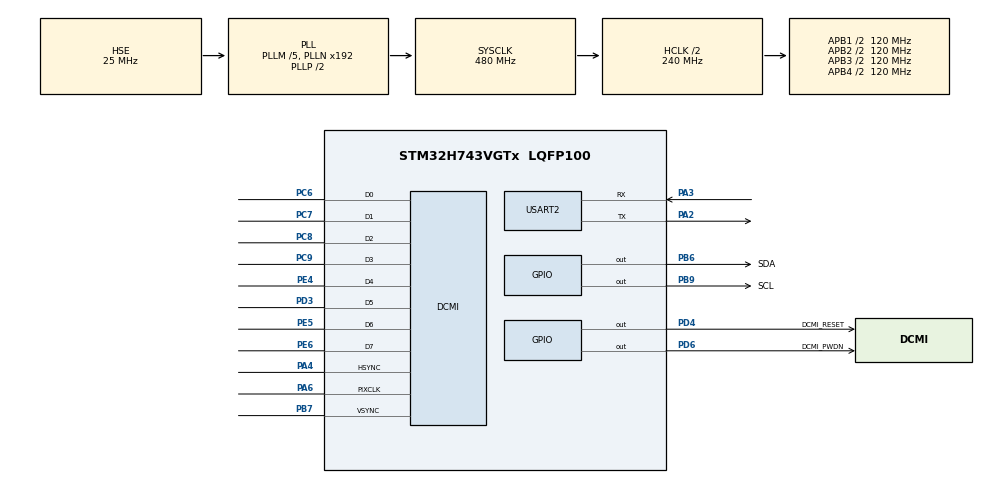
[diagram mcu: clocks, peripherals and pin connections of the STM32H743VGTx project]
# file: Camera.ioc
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CORTEX_M7.CPU_DCache=Enabled
CORTEX_M7.CPU_ICache=Enabled
CORTEX_M7.default_mode_Activation=1
DCMI.JPEGMode=DCMI_JPEG_DISABLE
DCMI.PCKPolarity=DCMI_PCKPOLARITY_RISING
Dma.DCMI.0.Direction=DMA_PERIPH_TO_MEMORY
Dma.DCMI.0.EventEnable=DISABLE
Dma.DCMI.0.FIFOMode=DMA_FIFOMODE_ENABLE
Dma.DCMI.0.FIFOThreshold=DMA_FIFO_THRESHOLD_HALFFULL
Dma.DCMI.0.Instance=DMA2_Stream1
Dma.DCMI.0.MemBurst=DMA_MBURST_SINGLE
Dma.DCMI.0.MemDataAlignment=DMA_MDATAALIGN_HALFWORD
Dma.DCMI.0.MemInc=DMA_MINC_ENABLE
Dma.DCMI.0.Mode=DMA_CIRCULAR
Dma.DCMI.0.PeriphBurst=DMA_PBURST_SINGLE
Dma.DCMI.0.PeriphDataAlignment=DMA_PDATAALIGN_WORD
Dma.DCMI.0.PeriphInc=DMA_PINC_DISABLE
Dma.DCMI.0.Polarity=HAL_DMAMUX_REQ_GEN_RISING
Dma.DCMI.0.Priority=DMA_PRIORITY_VERY_HIGH
Dma.DCMI.0.RequestNumber=1
Dma.DCMI.0.SignalID=NONE
Dma.DCMI.0.SyncEnable=DISABLE
Dma.DCMI.0.SyncPolarity=HAL_DMAMUX_SYNC_NO_EVENT
Dma.DCMI.0.SyncRequestNumber=1
Dma.DCMI.0.SyncSignalID=NONE
Dma.Request0=DCMI
Mcu.Family=STM32H7
Mcu.Name=STM32H743VGTx
Mcu.Package=LQFP100
NVIC.DCMI_IRQn=true\:2\:0\:true\:false\:true\:true\:true\:true
NVIC.DMA2_Stream1_IRQn=true\:1\:0\:true\:false\:true\:false\:true\:true
NVIC.PriorityGroup=NVIC_PRIORITYGROUP_4
NVIC.RCC_IRQn=true\:0\:0\:false\:false\:true\:true\:false\:true
NVIC.USART2_IRQn=true\:3\:0\:true\:false\:true\:true\:true\:true
PA2.Mode=Asynchronous
PA2.Signal=USART2_TX
PA3.Mode=Asynchronous
PA3.Signal=USART2_RX
PA4.GPIO_PuPd=GPIO_PULLUP
PA4.GPIO_Speed=GPIO_SPEED_FREQ_HIGH
PA4.Mode=Slave_8_bits_External_Synchro
PA4.Signal=DCMI_HSYNC
PA6.GPIO_PuPd=GPIO_PULLUP
PA6.GPIO_Speed=GPIO_SPEED_FREQ_HIGH
PA6.Mode=Slave_8_bits_External_Synchro
PA6.Signal=DCMI_PIXCLK
PB6.GPIO_FM6=__NULL
PB6.GPIO_Label=SDA
PB6.GPIO_ModeDefaultOutputPP=GPIO_MODE_OUTPUT_PP
PB6.GPIO_PuPd=GPIO_PULLUP
PB6.GPIO_Speed=GPIO_SPEED_FREQ_HIGH
PB6.Signal=GPIO_Output
PB7.GPIO_PuPd=GPIO_PULLUP
PB7.GPIO_Speed=GPIO_SPEED_FREQ_HIGH
PB7.Mode=Slave_8_bits_External_Synchro
PB7.Signal=DCMI_VSYNC
PB9.GPIO_FM9=__NULL
PB9.GPIO_Label=SCL
PB9.GPIO_ModeDefaultOutputPP=GPIO_MODE_OUTPUT_PP
PB9.GPIO_PuPd=GPIO_PULLUP
PB9.GPIO_Speed=GPIO_SPEED_FREQ_HIGH
PB9.Signal=GPIO_Output
PC14-OSC32_IN\ (OSC32_IN).Mode=LSE-External-Oscillator
PC14-OSC32_IN\ (OSC32_IN).Signal=RCC_OSC32_IN
PC15-OSC32_OUT\ (OSC32_OUT).Mode=LSE-External-Oscillator
PC15-OSC32_OUT\ (OSC32_OUT).Signal=RCC_OSC32_OUT
PC6.GPIO_PuPd=GPIO_PULLUP
PC6.GPIO_Speed=GPIO_SPEED_FREQ_HIGH
PC6.Mode=Slave_8_bits_External_Synchro
PC6.Signal=DCMI_D0
PC7.GPIO_PuPd=GPIO_PULLUP
PC7.GPIO_Speed=GPIO_SPEED_FREQ_HIGH
PC7.Mode=Slave_8_bits_External_Synchro
PC7.Signal=DCMI_D1
PC8.GPIO_PuPd=GPIO_PULLUP
PC8.GPIO_Speed=GPIO_SPEED_FREQ_HIGH
PC8.Mode=Slave_8_bits_External_Synchro
PC8.Signal=DCMI_D2
PC9.GPIO_PuPd=GPIO_PULLUP
PC9.GPIO_Speed=GPIO_SPEED_FREQ_HIGH
PC9.Mode=Slave_8_bits_External_Synchro
PC9.Signal=DCMI_D3
PD3.GPIO_PuPd=GPIO_PULLUP
PD3.GPIO_Speed=GPIO_SPEED_FREQ_HIGH
PD3.Mode=Slave_8_bits_External_Synchro
PD3.Signal=DCMI_D5
PD4.GPIO_Label=DCMI_RESET
PD4.GPIO_PuPd=GPIO_NOPULL
PD4.GPIO_Speed=GPIO_SPEED_FREQ_HIGH
PD4.Signal=GPIO_Output
PD6.GPIO_Label=DCMI_PWDN
PD6.GPIO_Speed=GPIO_SPEED_FREQ_HIGH
PD6.Signal=GPIO_Output
PE4.GPIO_PuPd=GPIO_PULLUP
PE4.GPIO_Speed=GPIO_SPEED_FREQ_HIGH
PE4.Mode=Slave_8_bits_External_Synchro
PE4.Signal=DCMI_D4
PE5.GPIO_PuPd=GPIO_PULLUP
PE5.GPIO_Speed=GPIO_SPEED_FREQ_HIGH
PE5.Mode=Slave_8_bits_External_Synchro
PE5.Signal=DCMI_D6
PE6.GPIO_PuPd=GPIO_PULLUP
PE6.GPIO_Speed=GPIO_SPEED_FREQ_HIGH
PE6.Mode=Slave_8_bits_External_Synchro
PE6.Signal=DCMI_D7
PH0-OSC_IN\ (PH0).Mode=HSE-External-Oscillator
PH0-OSC_IN\ (PH0).Signal=RCC_OSC_IN
PH1-OSC_OUT\ (PH1).Mode=HSE-External-Oscillator
PH1-OSC_OUT\ (PH1).Signal=RCC_OSC_OUT
ProjectManager.HeapSize=0x800
ProjectManager.StackSize=0x800
ProjectManager.TargetToolchain=MDK-ARM V5.32
RCC.ADCFreq_Value=50390625
RCC.APB1CLKDivider=RCC_HCLK_DIV4
RCC.APB1Freq_Value=120000000
RCC.APB2CLKDivider=RCC_HCLK_DIV2
RCC.APB2Freq_Value=120000000
RCC.APB3Freq_Value=120000000
RCC.APB4Freq_Value=120000000
RCC.CortexFreq_Value=480000000
RCC.D1PPRE=RCC_APB3_DIV2
RCC.D2PPRE1=RCC_APB1_DIV2
RCC.D2PPRE2=RCC_APB2_DIV2
RCC.D3PPRE=RCC_APB4_DIV2
RCC.DIVM1=5
RCC.DIVM3=4
RCC.DIVN1=192
RCC.DIVN3=480
RCC.DIVQ1=20
RCC.DIVQ3=8
RCC.FLatency=FLASH_LATENCY_4
RCC.HCLKFreq_Value=240000000
RCC.HPRE=RCC_HCLK_DIV2
RCC.HSE_VALUE=25000000
RCC.PLL2FRACN=0
RCC.PLL3FRACN=0
RCC.PLLFRACN=0
RCC.PLLM=25
RCC.PLLMUL=RCC_PLL_MUL9
RCC.PLLN=432
RCC.PLLQ=9
RCC.PLLSourceVirtual=RCC_PLLSOURCE_HSE
RCC.PRESCALERUSB=RCC_USBCLKSOURCE_PLL_DIV1_5
RCC.PWR_Regulator_Voltage_Scale=PWR_REGULATOR_VOLTAGE_SCALE0
RCC.SYSCLKFreq_VALUE=480000000
RCC.SYSCLKSource=RCC_SYSCLKSOURCE_PLLCLK
RCC.SYSCLKSourceVirtual=RCC_SYSCLKSOURCE_PLLCLK
RCC.USBFreq_Value=48000000
STMicroelectronics.X-CUBE-AI.10.2.0.ActivationBufferSizeList=421776
STMicroelectronics.X-CUBE-AI.10.2.0.ActivationBuffers=pool0
STMicroelectronics.X-CUBE-AI.10.2.0.ActivationNames=pool0
STMicroelectronics.X-CUBE-AI.10.2.0.ActivationSizes=AI_NETWORK_DATA_ACTIVATION_1_SIZE
STMicroelectronics.X-CUBE-AI.10.2.0.ApplicationCcDeviceJjApplication=ApplicationTemplate
STMicroelectronics.X-CUBE-AI.10.2.0.HeapSize=0x800
STMicroelectronics.X-CUBE-AI.10.2.0.InternalRamActivationBufferMaxSize=AI_NETWORK_DATA_ACTIVATIONS_SIZE
STMicroelectronics.X-CUBE-AI.10.2.0.LatestDirectoryUsed-2969e088c054d3755a1600b9624f1c1169a96ec0ee47e460c4e20c2f4b0380d6=C\:\\Users\\cheche\\Desktop\\Camera_YOLO
STMicroelectronics.X-CUBE-AI.10.2.0.MaximumNumberOfInputLayer=1
STMicroelectronics.X-CUBE-AI.10.2.0.MaximumNumberOfOutputLayer=1
STMicroelectronics.X-CUBE-AI.10.2.0.MaximumSizeOfInputLayer=1
STMicroelectronics.X-CUBE-AI.10.2.0.MaximumSizeOfOutputLayer=1
STMicroelectronics.X-CUBE-AI.10.2.0.ModelActualCompression-2969e088c054d3755a1600b9624f1c1169a96ec0ee47e460c4e20c2f4b0380d6=0.0
STMicroelectronics.X-CUBE-AI.10.2.0.ModelCompression-2969e088c054d3755a1600b9624f1c1169a96ec0ee47e460c4e20c2f4b0380d6=None
STMicroelectronics.X-CUBE-AI.10.2.0.ModelFlashOccupation-2969e088c054d3755a1600b9624f1c1169a96ec0ee47e460c4e20c2f4b0380d6=418927
STMicroelectronics.X-CUBE-AI.10.2.0.ModelHashList=2969e088c054d3755a1600b9624f1c1169a96ec0ee47e460c4e20c2f4b0380d6
STMicroelectronics.X-CUBE-AI.10.2.0.ModelKind-2969e088c054d3755a1600b9624f1c1169a96ec0ee47e460c4e20c2f4b0380d6=ONNX
STMicroelectronics.X-CUBE-AI.10.2.0.ModelMacc-2969e088c054d3755a1600b9624f1c1169a96ec0ee47e460c4e20c2f4b0380d6=67856489
STMicroelectronics.X-CUBE-AI.10.2.0.ModelName-2969e088c054d3755a1600b9624f1c1169a96ec0ee47e460c4e20c2f4b0380d6=network
STMicroelectronics.X-CUBE-AI.10.2.0.ModelNameList=network
STMicroelectronics.X-CUBE-AI.10.2.0.ModelRamOccupation-2969e088c054d3755a1600b9624f1c1169a96ec0ee47e460c4e20c2f4b0380d6=421776
STMicroelectronics.X-CUBE-AI.10.2.0.ModelStructureFile-2969e088c054d3755a1600b9624f1c1169a96ec0ee47e460c4e20c2f4b0380d6=static_quantized.onnx
STMicroelectronics.X-CUBE-AI.10.2.0.ModelType-2969e088c054d3755a1600b9624f1c1169a96ec0ee47e460c4e20c2f4b0380d6=STM32Cube.AI MCU runtime
STMicroelectronics.X-CUBE-AI.10.2.0.ReadyForCodeGeneration=true
STMicroelectronics.X-CUBE-AI.10.2.0.StackSize=0x800
STMicroelectronics.X-CUBE-AI.10.2.0.WorkingBufferStartAddrList=0xFFFFFFFF
STMicroelectronics.X-CUBE-AI.10.2.0.XAaCUBEAaAICcArtificialOoIntelligenceJjCore=true
STMicroelectronics.X-CUBE-AI.10.2.0.copyWeightToRam=false
STMicroelectronics.X-CUBE-AI.10.2.0.copyWeightToRam-2969e088c054d3755a1600b9624f1c1169a96ec0ee47e460c4e20c2f4b0380d6=false
STMicroelectronics.X-CUBE-AI.10.2.0.customLayerConfigEnabled=false
STMicroelectronics.X-CUBE-AI.10.2.0.customLayerConfigEnabled-2969e088c054d3755a1600b9624f1c1169a96ec0ee47e460c4e20c2f4b0380d6=false
STMicroelectronics.X-CUBE-AI.10.2.0.noOnnxIoTranspose=false
STMicroelectronics.X-CUBE-AI.10.2.0.noOnnxIoTranspose-2969e088c054d3755a1600b9624f1c1169a96ec0ee47e460c4e20c2f4b0380d6=false
STMicroelectronics.X-CUBE-AI.10.2.0.useInputAllocation=true
STMicroelectronics.X-CUBE-AI.10.2.0.useInputAllocation-2969e088c054d3755a1600b9624f1c1169a96ec0ee47e460c4e20c2f4b0380d6=true
STMicroelectronics.X-CUBE-AI.10.2.0.useOutputAllocation=true
STMicroelectronics.X-CUBE-AI.10.2.0.useOutputAllocation-2969e088c054d3755a1600b9624f1c1169a96ec0ee47e460c4e20c2f4b0380d6=true
TIM2.Prescaler=200-1
USART2.VirtualMode-Asynchronous=VM_ASYNC
VP_MEMORYMAP_VS_MEMORYMAP.Mode=CurAppReg
VP_STMicroelectronics.X-CUBE-AI_VS_ArtificialOoIntelligenceJjXAaCUBEAaAI_10.2.0.Mode=ArtificialOoIntelligenceJjXAaCUBEAaAI
VP_STMicroelectronics.X-CUBE-AI_VS_DeviceJjApplication_10.2.0.Mode=DeviceJjApplication
VP_TIM2_VS_ClockSourceINT.Mode=Internal
board=custom

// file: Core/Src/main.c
/* USER CODE BEGIN Header */
/**
  ******************************************************************************
  * @file           : main.c
  * @brief          : Main program body
  ******************************************************************************
  * @attention
  *
  * Copyright (c) 2025 STMicroelectronics.
  * All rights reserved.
  *
  * This software is licensed under terms that can be found in the LICENSE file
  * in the root directory of this software component.
  * If no LICENSE file comes with this software, it is provided AS-IS.
  *
  ******************************************************************************
  */
/* USER CODE END Header */
#include "main.h"
#include "dcmi.h"
#include "dma.h"
#include "tim.h"
#include "usart.h"
#include "gpio.h"
#include "app_x-cube-ai.h"

/* USER CODE BEGIN Includes */
#include "mc2640.h"
#include "mc2640_sccb.h"
#include "demo.h"
#include "WIFI.h"
#include "stm32h7xx_it.h"                 // Device header
#include <stdio.h>
#include <stdarg.h>
#include "string.h"
#include "wait_mode.h"
#include "stm32h743xx.h"
#include "usart.h"

/* USER CODE END Includes */

void SystemClock_Config(void);
static void MPU_Config(void);

/* USER CODE BEGIN 0 */
/*定义一个拍照并且处理数据的函数*/
int Capture_Process_Faces(void)
{
	int res = 0;
	demo_run();
	res = MX_X_CUBE_AI_Process();
	return res;
}

/* USER CODE BEGIN 0 */

// 定义一个全局标志位，用来记录是否是按键唤醒的
volatile uint8_t button_wakeup_flag = 0;

// 重写外部中断回调函数 (刚刚 gpio.c 里的 EXTI0_IRQHandler 会自动调用它)
void HAL_GPIO_EXTI_Callback(uint16_t GPIO_Pin)
{
    if (GPIO_Pin == GPIO_PIN_0)
    {
        button_wakeup_flag = 1; // 标记：按键把叫醒的！
    }
}

/* USER CODE END 0 */
/* USER CODE END 0 */

int main(void)
{

  /* MPU Configuration--------------------------------------------------------*/
  MPU_Config();

  /* Enable the CPU Cache */

  /* Enable I-Cache---------------------------------------------------------*/
  SCB_EnableICache();

  /* Enable D-Cache---------------------------------------------------------*/
  SCB_EnableDCache();

  /* MCU Configuration--------------------------------------------------------*/

  /* Reset of all peripherals, Initializes the Flash interface and the Systick. */
  HAL_Init();

  /* Configure the system clock */
  SystemClock_Config();

  /* Initialize all configured peripherals */
  MX_GPIO_Init();
	Manual_Button_EXTI_Init();
  MX_DMA_Init();
  MX_DCMI_Init();
  MX_USART2_UART_Init();
  MX_TIM2_Init();
  MX_X_CUBE_AI_Init();
	System_RTC_Init();
  /* USER CODE BEGIN 2 */

	extern uint8_t usart2_rx_byte;
	extern uint8_t USART2_RxBuffer[USART2_RX_BUFFER_SIZE];
  extern volatile uint8_t USART2_RxFlag;

	int result = 0;		//人数结果
	// uint16_t history_count =  0;		//本地数组索引
  // int history_faces[256] = {0};		//本地储存人数信息数组(重复定时)	// history_faces[255](单次定时)
	// uint32_t last_capture_tick = 0; //用于记录定时器打卡

	// ConfigResult_t current_config = {MODE_IDLE,0,0};	//结构体初始化
	HAL_UART_Receive_IT(&huart2, &usart2_rx_byte, 1);	//接收初始化
  /* USER CODE END 2 */

  /* Infinite loop */
  /* USER CODE BEGIN WHILE */
  while (1)
  {

		result = MX_X_CUBE_AI_Process();
		printf("order0people%dend",result);

  }
	/* USER CODE END WHILE */

}

void SystemClock_Config(void)
{
  RCC_OscInitTypeDef RCC_OscInitStruct = {0};
  RCC_ClkInitTypeDef RCC_ClkInitStruct = {0};

  /** Supply configuration update enable
  */
  HAL_PWREx_ConfigSupply(PWR_LDO_SUPPLY);

  /** Configure the main internal regulator output voltage
  */
  __HAL_PWR_VOLTAGESCALING_CONFIG(PWR_REGULATOR_VOLTAGE_SCALE0);

  while(!__HAL_PWR_GET_FLAG(PWR_FLAG_VOSRDY)) {}

  /** Initializes the RCC Oscillators according to the specified parameters
  * in the RCC_OscInitTypeDef structure.
  */
  RCC_OscInitStruct.OscillatorType = RCC_OSCILLATORTYPE_HSE;
  RCC_OscInitStruct.HSEState = RCC_HSE_ON;
  RCC_OscInitStruct.PLL.PLLState = RCC_PLL_ON;
  RCC_OscInitStruct.PLL.PLLSource = RCC_PLLSOURCE_HSE;
  RCC_OscInitStruct.PLL.PLLM = 5;
  RCC_OscInitStruct.PLL.PLLN = 192;
  RCC_OscInitStruct.PLL.PLLP = 2;
  RCC_OscInitStruct.PLL.PLLQ = 20;
  RCC_OscInitStruct.PLL.PLLR = 2;
  RCC_OscInitStruct.PLL.PLLRGE = RCC_PLL1VCIRANGE_2;
  RCC_OscInitStruct.PLL.PLLVCOSEL = RCC_PLL1VCOWIDE;
  RCC_OscInitStruct.PLL.PLLFRACN = 0;
  if (HAL_RCC_OscConfig(&RCC_OscInitStruct) != HAL_OK)
  {
    Error_Handler();
  }

  /** Initializes the CPU, AHB and APB buses clocks
  */
  RCC_ClkInitStruct.ClockType = RCC_CLOCKTYPE_HCLK|RCC_CLOCKTYPE_SYSCLK
                              |RCC_CLOCKTYPE_PCLK1|RCC_CLOCKTYPE_PCLK2
                              |RCC_CLOCKTYPE_D3PCLK1|RCC_CLOCKTYPE_D1PCLK1;
  RCC_ClkInitStruct.SYSCLKSource = RCC_SYSCLKSOURCE_PLLCLK;
  RCC_ClkInitStruct.SYSCLKDivider = RCC_SYSCLK_DIV1;
  RCC_ClkInitStruct.AHBCLKDivider = RCC_HCLK_DIV2;
  RCC_ClkInitStruct.APB3CLKDivider = RCC_APB3_DIV2;
  RCC_ClkInitStruct.APB1CLKDivider = RCC_APB1_DIV2;
  RCC_ClkInitStruct.APB2CLKDivider = RCC_APB2_DIV2;
  RCC_ClkInitStruct.APB4CLKDivider = RCC_APB4_DIV2;

  if (HAL_RCC_ClockConfig(&RCC_ClkInitStruct, FLASH_LATENCY_4) != HAL_OK)
  {
    Error_Handler();
  }
}

 /* MPU Configuration */

void MPU_Config(void)
{
  MPU_Region_InitTypeDef MPU_InitStruct = {0};

  /* Disables the MPU */
  HAL_MPU_Disable();

  /** Initializes and configures the Region and the memory to be protected
  */
  MPU_InitStruct.Enable = MPU_REGION_ENABLE;
  MPU_InitStruct.Number = MPU_REGION_NUMBER0;
  MPU_InitStruct.BaseAddress = 0x0;
  MPU_InitStruct.Size = MPU_REGION_SIZE_4GB;
  MPU_InitStruct.SubRegionDisable = 0x87;
  MPU_InitStruct.TypeExtField = MPU_TEX_LEVEL0;
  MPU_InitStruct.AccessPermission = MPU_REGION_NO_ACCESS;
  MPU_InitStruct.DisableExec = MPU_INSTRUCTION_ACCESS_DISABLE;
  MPU_InitStruct.IsShareable = MPU_ACCESS_SHAREABLE;
  MPU_InitStruct.IsCacheable = MPU_ACCESS_NOT_CACHEABLE;
  MPU_InitStruct.IsBufferable = MPU_ACCESS_NOT_BUFFERABLE;

  HAL_MPU_ConfigRegion(&MPU_InitStruct);
  /* Enables the MPU */
  HAL_MPU_Enable(MPU_PRIVILEGED_DEFAULT);

}

void Error_Handler(void)
{
  /* USER CODE BEGIN Error_Handler_Debug */
  /* User can add his own implementation to report the HAL error return state */
  __disable_irq();
//  while (1)
//  {
//  }
  /* USER CODE END Error_Handler_Debug */
}
